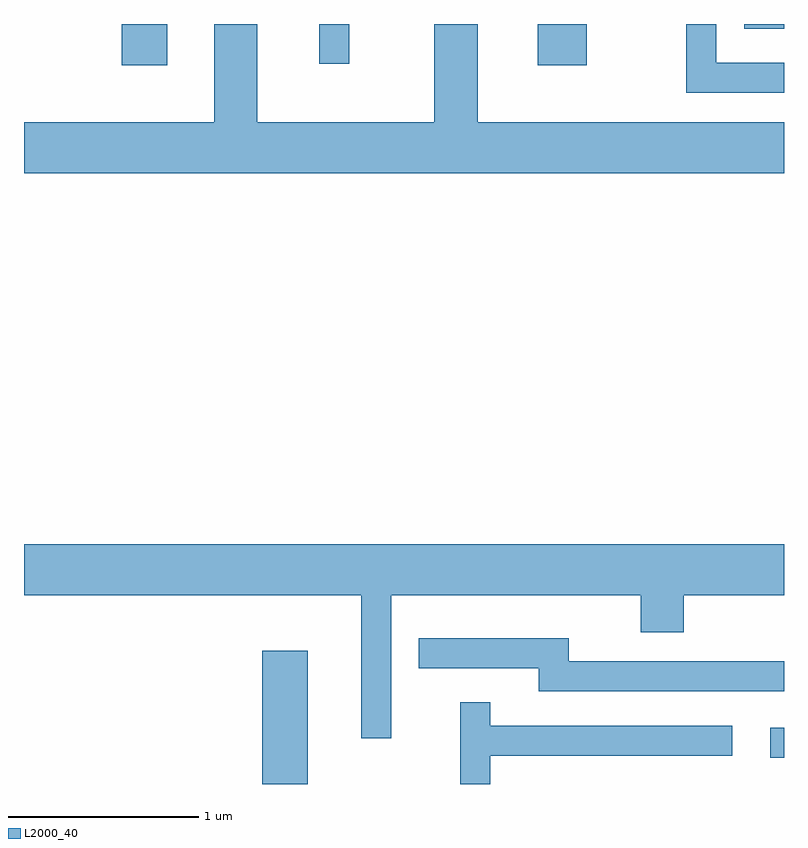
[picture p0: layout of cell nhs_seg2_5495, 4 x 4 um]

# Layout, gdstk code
import gdstk
lib = gdstk.Library(unit=1e-6, precision=1e-09)
def R(c, l, rs):  # rectangles x0, y0, x1, y1
    for r in rs: c.add(gdstk.rectangle(r[:2], r[2:], *l))
def P(c, l, *ps):  # polygons
    for p in ps: c.add(gdstk.Polygon(p, *l))
L2000_40 = (2000, 40)

nhs_seg2_5495 = lib.new_cell('nhs_seg2_5495')
R(nhs_seg2_5495, L2000_40, [(348.866,1011.802,349.104,1012.504), (351.538,1011.941,351.611,1012.099), (348.126,1015.586,348.364,1015.802), (350.316,1015.586,350.574,1015.802), (349.166,1015.593,349.324,1015.802), (351.403,1015.776,351.611,1015.802)])
P(nhs_seg2_5495, L2000_40, [(351.611,1015.284),(349.999,1015.284),(349.999,1015.802),(349.771,1015.802),(349.771,1015.284),(348.839,1015.284),(348.839,1015.802),(348.611,1015.802),(348.611,1015.284),(347.611,1015.284),(347.611,1015.016),(351.611,1015.016)],
  [(351.611,1015.599),(351.254,1015.599),(351.254,1015.802),(351.096,1015.802),(351.096,1015.441),(351.611,1015.441)],
  [(349.544,1012.796),(350.856,1012.796),(350.856,1012.601),(351.084,1012.601),(351.084,1012.796),(351.611,1012.796),(351.611,1013.064),(347.611,1013.064),(347.611,1012.796),(349.386,1012.796),(349.386,1012.043),(349.544,1012.043)],
  [(351.611,1012.449),(350.479,1012.449),(350.479,1012.569),(349.688,1012.569),(349.688,1012.411),(350.321,1012.411),(350.321,1012.291),(351.611,1012.291)],
  [(350.064,1011.951),(351.338,1011.951),(351.338,1012.109),(350.064,1012.109),(350.064,1012.233),(349.906,1012.233),(349.906,1011.802),(350.064,1011.802)])

lib.write_gds('nhs_seg2_5495.gds')
